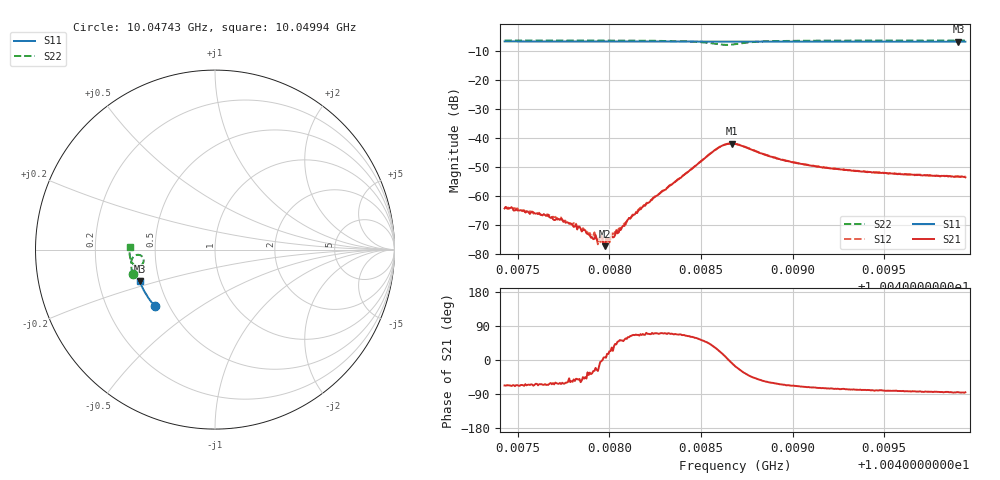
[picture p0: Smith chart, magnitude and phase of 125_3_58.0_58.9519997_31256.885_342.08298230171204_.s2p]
#  HZ  S  RI  R  50.00
! Rohde & Schwarz Vector Network Analyzer
! Rohde-Schwarz,ZNB20-2Port,1311601062101988,3.16
! Created: UTC 3/21/2024, 12:55:53 AM
! freq[Hz]  re:S11  im:S11  re:S21  im:S21  re:S12  im:S12  re:S22  im:S22
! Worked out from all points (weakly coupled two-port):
!   401 points, 10.04743 GHz to 10.04994 GHz, reference 50 ohm
!   highest |S21| = -42.00 dB at 10.04867 GHz (marker M1); lowest = -77.4 dB at 10.04797 GHz (marker M2)
!   lowest |S11| = -6.8 dB at 10.04991 GHz (marker M3), VSWR 2.67, Z = 19.4 - j8.67 ohm
!   |S11| at or under -10 dB: nowhere
!   |S22| runs from -7.9 to -6.4 dB; largest |S21 - S12| = 0.00056
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1.0047427e10  -0.3342 -0.3164  0.000234 -0.000557  0.000279 -0.000544  -0.4589 -0.1351
1.0047654e10  -0.3442 -0.305  0.000188 -0.000414  0.000216 -0.000403  -0.4626 -0.119
1.0047691e10  -0.3457 -0.3029  0.000191 -0.000344  0.000226 -0.000373  -0.4631 -0.1163
1.0047748e10  -0.3481 -0.3001  0.000164 -0.000314  0.000205 -0.000308  -0.4639 -0.1122
1.0047849e10  -0.3522 -0.2946  0.000143 -0.000196  0.000169 -0.000178  -0.4651 -0.1043
1.0047905e10  -0.3547 -0.2918  0.000157 -0.000109  0.00019 -0.000104  -0.4658 -0.0999
1.0047943e10  -0.3562 -0.2897  0.000173 -5.1e-05  0.000183 -3.77e-05  -0.4662 -0.0969
1.0047975e10  -0.3574 -0.288  0.000134 1.65e-05  0.000157 3.82e-05  -0.4664 -0.0942
1.0048e10  -0.3583 -0.2868  0.000144 6.09e-05  0.000154 6.71e-05  -0.4666 -0.0921
1.0048056e10  -0.3606 -0.2837  0.00016 0.000209  0.000157 0.00023  -0.4669 -0.0872
1.00481e10  -0.3624 -0.2814  0.000192 0.000334  0.000185 0.000325  -0.4672 -0.0833
1.0048157e10  -0.3646 -0.2783  0.000218 0.000503  0.000187 0.000539  -0.4673 -0.0778
1.004827e10  -0.3689 -0.2722  0.00038 0.000994  0.000281 0.00104  -0.4662 -0.0658
1.0048579e10  -0.3797 -0.2548  0.00526 0.00331  0.00507 0.00363  -0.4175 -0.0309
1.0048623e10  -0.381 -0.2525  0.00726 0.00177  0.00717 0.00221  -0.4008 -0.0462
1.0048667e10  -0.3824 -0.2503  0.00788 -0.00102  0.00797 -0.000559  -0.3991 -0.071
1.0048686e10  -0.383 -0.2494  0.00754 -0.00219  0.00771 -0.00166  -0.4041 -0.08
1.0048925e10  -0.3917 -0.2362  0.00193 -0.00385  0.00218 -0.00377  -0.4625 -0.0733
1.0049107e10  -0.3975 -0.2254  0.001 -0.00312  0.0012 -0.0031  -0.471 -0.0528
1.0049529e10  -0.41 -0.2005  0.000375 -0.00241  0.000495 -0.0024  -0.4761 -0.017
1.0049907e10  -0.4197 -0.1775  0.000182 -0.00213  0.000281 -0.00214  -0.4763 0.0105
1.0049944e10  -0.4206 -0.1752  0.00017 -0.00207  0.000273 -0.00212  -0.4763 0.0133
